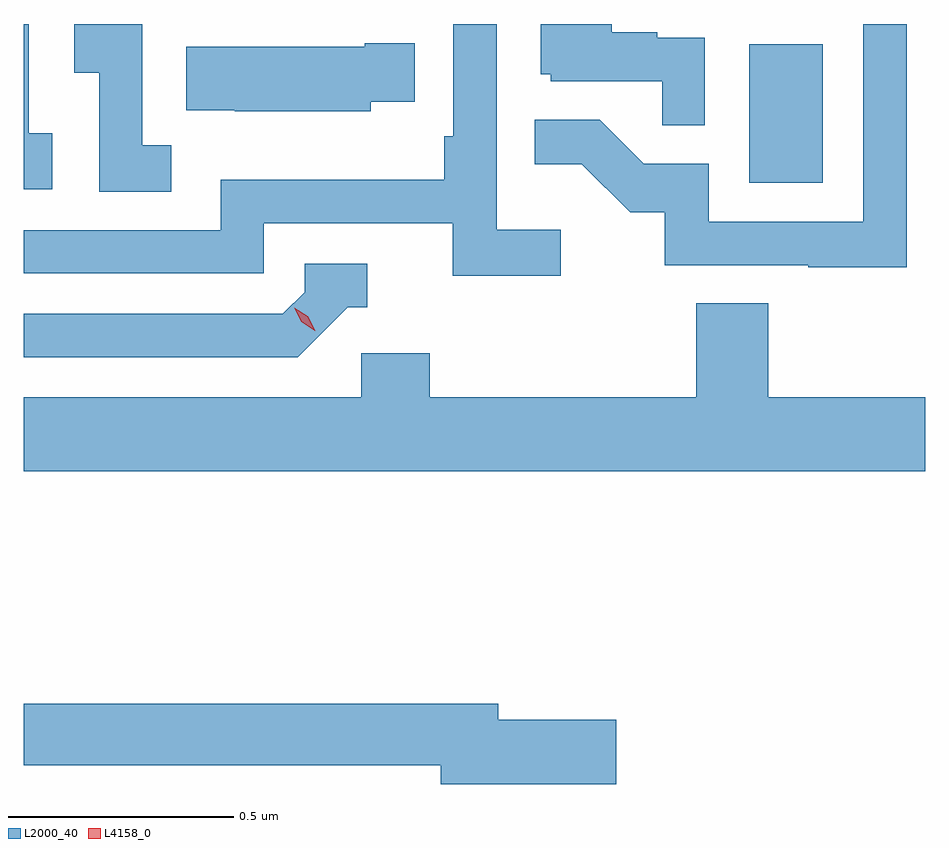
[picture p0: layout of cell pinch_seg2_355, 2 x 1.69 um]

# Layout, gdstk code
import gdstk
lib = gdstk.Library(unit=1e-6, precision=1e-09)
def R(c, l, rs):  # rectangles x0, y0, x1, y1
    for r in rs: c.add(gdstk.rectangle(r[:2], r[2:], *l))
def P(c, l, *ps):  # polygons
    for p in ps: c.add(gdstk.Polygon(p, *l))
L2000_40 = (2000, 40)
L4158_0 = (4158, 0)

pinch_seg2_355 = lib.new_cell('pinch_seg2_355')
R(pinch_seg2_355, L2000_40, [(975.218,645.612,975.382,645.919)])
P(pinch_seg2_355, L2000_40, [(975.568,645.964),(975.471,645.964),(975.471,645.525),(975.129,645.525),(975.129,645.654),(974.985,645.654),(974.887,645.752),(974.743,645.752),(974.743,645.653),(974.847,645.653),(974.954,645.546),(975.031,645.546),(975.031,645.429),(975.349,645.429),(975.349,645.424),(975.568,645.424)],
  [(974.8,645.508),(974.658,645.508),(974.658,645.964),(974.562,645.964),(974.562,645.715),(974.542,645.715),(974.542,645.619),(974.046,645.619),(974.046,645.507),(973.609,645.507),(973.609,645.411),(974.142,645.411),(974.142,645.522),(974.561,645.522),(974.561,645.406),(974.8,645.406)],
  [(973.936,645.695),(973.872,645.695),(973.872,645.964),(973.721,645.964),(973.721,645.856),(973.776,645.856),(973.776,645.592),(973.936,645.592)],
  [(975.12,645.933),(975.014,645.933),(975.014,645.946),(974.914,645.946),(974.914,645.964),(974.756,645.964),(974.756,645.852),(974.778,645.852),(974.778,645.837),(975.025,645.837),(975.025,645.739),(975.12,645.739)],
  [(973.672,645.722),(973.62,645.722),(973.62,645.964),(973.609,645.964),(973.609,645.597),(973.672,645.597)],
  [(974.379,645.791),(974.477,645.791),(974.477,645.921),(974.366,645.921),(974.366,645.913),(973.969,645.913),(973.969,645.773),(974.077,645.773),(974.077,645.77),(974.379,645.77)],
  [(974.328,645.336),(974.371,645.336),(974.371,645.432),(974.232,645.432),(974.232,645.369),(974.184,645.321),(973.609,645.321),(973.609,645.225),(974.217,645.225)],
  [(975.609,645.136),(975.261,645.136),(975.261,645.344),(975.101,645.344),(975.101,645.136),(974.51,645.136),(974.51,645.234),(974.358,645.234),(974.358,645.136),(973.609,645.136),(973.609,644.972),(975.609,644.972)],
  [(974.923,644.42),(974.662,644.42),(974.662,644.456),(973.609,644.456),(973.609,644.32),(974.534,644.32),(974.534,644.278),(974.923,644.278)])
P(pinch_seg2_355, L4158_0, [(974.255,645.284),(974.225,645.303),(974.209,645.335),(974.209,645.335),(974.209,645.335),(974.239,645.316),(974.256,645.284),(974.256,645.284)])

lib.write_gds('pinch_seg2_355.gds')
